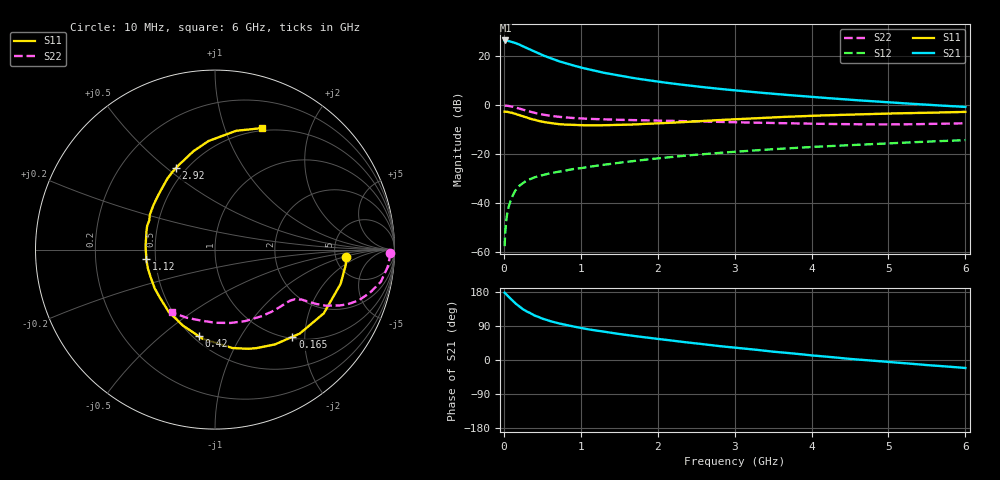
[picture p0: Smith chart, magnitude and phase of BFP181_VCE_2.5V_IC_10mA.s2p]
! Infineon Technologies  Discrete & RF Semiconductors
! BFP181
! VCE = 2.5 V,  IC =  10 mA
! Common Emitter S-Parameters:  Jan 2016
# GHz  S  MA  R  50
!  f  S11  S21  S12  S22
! GHz  MAG  ANG  MAG  ANG  MAG  ANG  MAG  ANG
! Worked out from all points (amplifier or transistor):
!   210 points, 10 MHz to 6 GHz, reference 50 ohm
!   highest |S21| = 26.4 dB at 20 MHz (marker M1)
!   |S21| within 3 dB of that: start of sweep to 291.1 MHz
!   unconditionally stable (mu >= 1): 1.044 GHz to end of sweep
!   at 185 MHz: K = 0.29, MSG = 29.3 dB, |S12| = -33.6 dB
!   at 1.52 GHz: K = 1.14, MAG = 15.5 dB, |S12| = -23.5 dB
!   at 6 GHz: K = 1.01, MAG = 6.2 dB, |S12| = -14.3 dB
!   S11 on the Smith chart (normalised r, x): 10 MHz: 6.25, -1.13; 165 MHz: 1.03, -1.74; 420 MHz: 0.53, -0.68; 1.12 GHz: 0.44, -0.05; 2.92 GHz: 0.44, +0.54; 6 GHz: 0.47, +1.35
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0.01  0.7318 -3.3  20.9 177.6  0.0013 82.2  0.9766 -1.0
0.02  0.7336 -6.6  21 175.9  0.0027 82.0  0.9755 -2.2
0.05  0.7255 -15.3  20.67 169.2  0.007 87.8  0.9668 -5.8
0.1  0.7024 -30.4  19.72 159.1  0.0122 73.7  0.9406 -11.1
0.15  0.6649 -44.7  18.6 149.5  0.0179 68.4  0.8957 -15.6
0.165  0.6495 -48.4  18.19 147.1  0.0192 66.9  0.8819 -16.7
0.2  0.6251 -57.7  17.36 141.2  0.0222 64.2  0.8509 -19.3
0.26  0.583 -71.4  15.64 132.6  0.0261 59.5  0.7966 -22.5
0.3  0.5572 -79.9  14.66 127.9  0.0288 57.1  0.7622 -24.1
0.42  0.4902 -100.8  12 115.9  0.034 52.3  0.6829 -27.1
0.5  0.4588 -113.2  10.53 109.2  0.0368 50.1  0.6421 -28.2
0.6  0.4322 -126.7  9.196 102.8  0.0403 49.0  0.6053 -28.9
0.7  0.41 -137.4  8.028 97.3  0.043 48.5  0.5781 -29.5
1.02  0.3874 -165.6  5.778 83.9  0.0518 48.5  0.5308 -31.3
1.12  0.3859 -172.4  5.312 80.3  0.055 48.5  0.5219 -32.1
1.5  0.3942 166.0  4.01 68.6  0.0661 48.8  0.5 -35.6
2.02  0.4253 142.9  2.985 55.1  0.0819 47.3  0.481 -42.1
2.92  0.5041 115.4  2.06 34.2  0.1086 42.4  0.4494 -56.4
3.1  0.5204 110.9  1.939 30.7  0.1136 41.3  0.4424 -59.7
4.1  0.6115 91.8  1.434 10.5  0.1416 34.1  0.4146 -80.1
5.1  0.677 78.6  1.114 -6.7  0.1671 26.9  0.4032 -103.3
6  0.7262 68.9  0.917 -21.1  0.192 19.9  0.4242 -124.5
